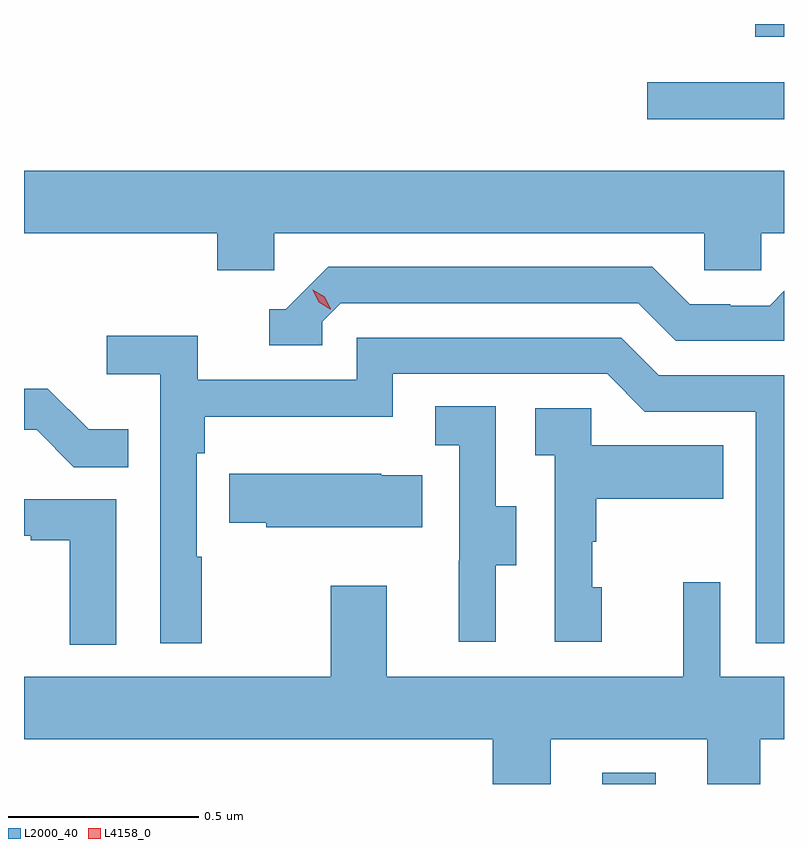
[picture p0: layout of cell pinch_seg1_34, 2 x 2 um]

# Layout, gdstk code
import gdstk
lib = gdstk.Library(unit=1e-6, precision=1e-09)
def R(c, l, rs):  # rectangles x0, y0, x1, y1
    for r in rs: c.add(gdstk.rectangle(r[:2], r[2:], *l))
def P(c, l, *ps):  # polygons
    for p in ps: c.add(gdstk.Polygon(p, *l))
L2000_40 = (2000, 40)
L4158_0 = (4158, 0)

pinch_seg1_34 = lib.new_cell('pinch_seg1_34')
R(pinch_seg1_34, L2000_40, [(1143.785,568.93,1143.925,568.96), (1143.903,570.68,1144.263,570.777), (1144.187,570.897,1144.263,570.93)])
P(pinch_seg1_34, L2000_40, [(1142.922,570.38),(1144.053,570.38),(1144.053,570.282),(1144.203,570.282),(1144.203,570.38),(1144.263,570.38),(1144.263,570.544),(1142.263,570.544),(1142.263,570.38),(1142.771,570.38),(1142.771,570.282),(1142.922,570.282)],
  [(1143.048,570.147),(1143.096,570.195),(1143.879,570.195),(1143.978,570.096),(1144.263,570.096),(1144.263,570.228),(1144.225,570.189),(1144.122,570.189),(1144.122,570.192),(1144.015,570.192),(1143.916,570.291),(1143.063,570.291),(1142.952,570.18),(1142.909,570.18),(1142.909,570.084),(1143.048,570.084)],
  [(1142.731,569.528),(1142.718,569.528),(1142.718,569.801),(1142.738,569.801),(1142.738,569.897),(1143.234,569.897),(1143.234,570.009),(1143.798,570.009),(1143.897,569.91),(1144.188,569.91),(1144.188,569.301),(1144.263,569.301),(1144.263,570.006),(1143.934,570.006),(1143.835,570.105),(1143.138,570.105),(1143.138,569.994),(1142.72,569.994),(1142.72,570.11),(1142.481,570.11),(1142.481,570.008),(1142.622,570.008),(1142.622,569.301),(1142.731,569.301)],
  [(1142.537,569.863),(1142.433,569.863),(1142.326,569.97),(1142.263,569.97),(1142.263,569.862),(1142.296,569.862),(1142.394,569.764),(1142.537,569.764)],
  [(1143.505,569.506),(1143.559,569.506),(1143.559,569.661),(1143.504,569.661),(1143.504,569.924),(1143.345,569.924),(1143.345,569.821),(1143.408,569.821),(1143.408,569.517),(1143.407,569.517),(1143.407,569.304),(1143.505,569.304)],
  [(1143.784,569.448),(1143.759,569.448),(1143.759,569.567),(1143.769,569.567),(1143.769,569.681),(1144.103,569.681),(1144.103,569.821),(1143.756,569.821),(1143.756,569.919),(1143.609,569.919),(1143.609,569.795),(1143.66,569.795),(1143.66,569.304),(1143.784,569.304)],
  [(1143.311,569.743),(1143.203,569.743),(1143.203,569.746),(1142.803,569.746),(1142.803,569.617),(1142.901,569.617),(1142.901,569.606),(1143.311,569.606)],
  [(1142.506,569.679),(1142.263,569.679),(1142.263,569.583),(1142.281,569.583),(1142.281,569.571),(1142.384,569.571),(1142.384,569.297),(1142.506,569.297)],
  [(1143.649,569.048),(1144.061,569.048),(1144.061,568.93),(1144.201,568.93),(1144.201,569.048),(1144.263,569.048),(1144.263,569.212),(1144.095,569.212),(1144.095,569.461),(1143.998,569.461),(1143.998,569.212),(1143.217,569.212),(1143.217,569.452),(1143.07,569.452),(1143.07,569.212),(1142.263,569.212),(1142.263,569.048),(1143.497,569.048),(1143.497,568.93),(1143.649,568.93)])
P(pinch_seg1_34, L4158_0, [(1143.069,570.179),(1143.039,570.198),(1143.023,570.231),(1143.023,570.231),(1143.023,570.231),(1143.054,570.212),(1143.07,570.179),(1143.07,570.179)])

lib.write_gds('pinch_seg1_34.gds')
